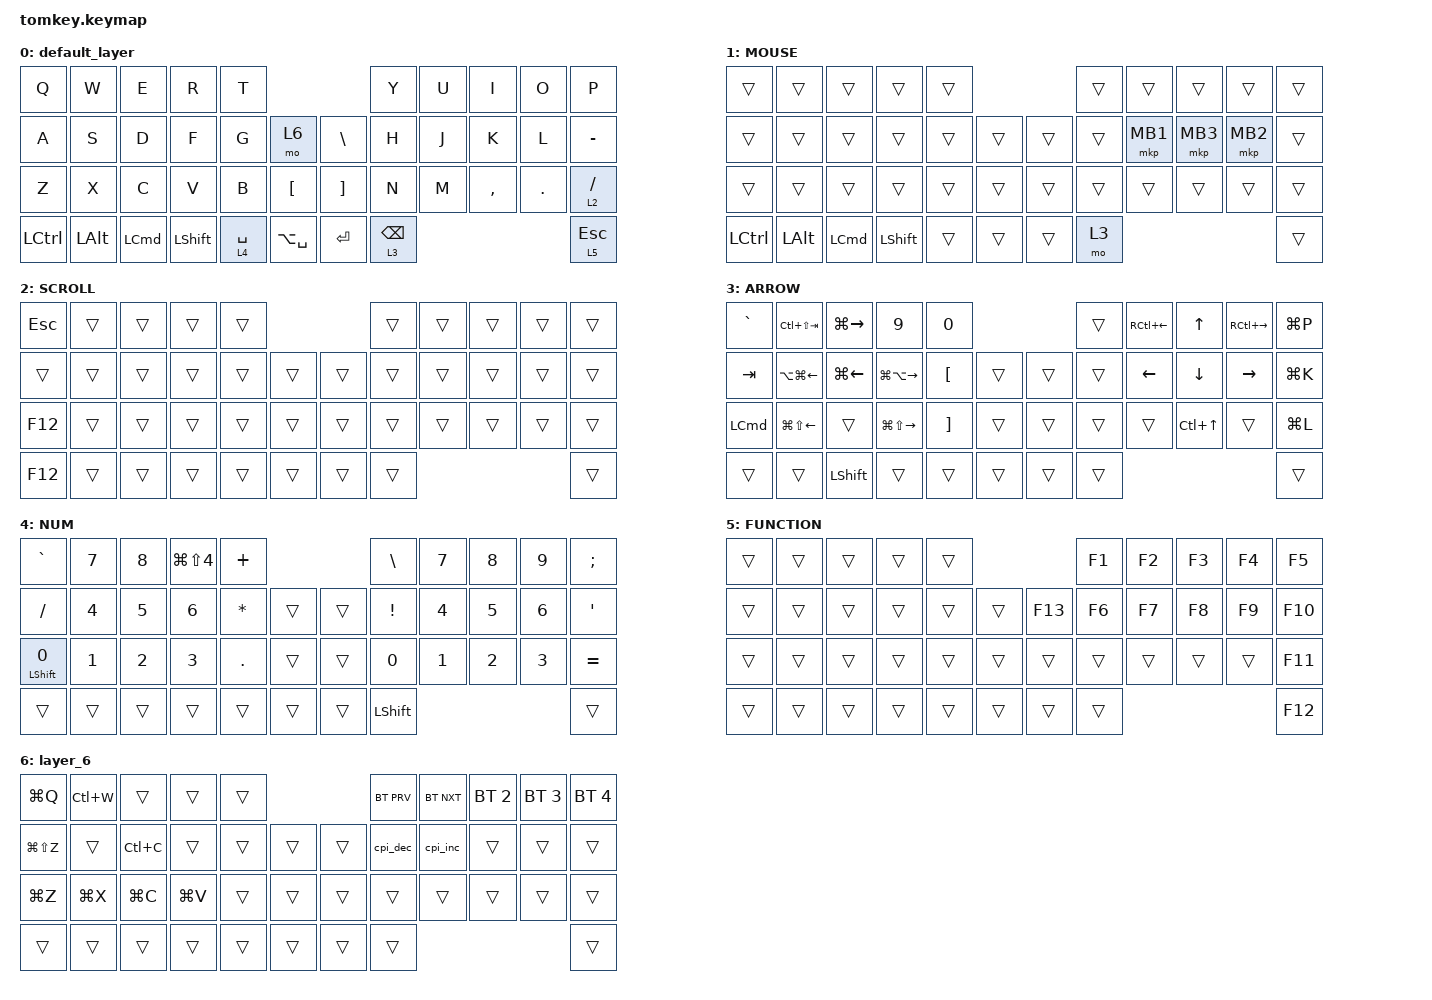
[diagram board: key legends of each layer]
#include <behaviors.dtsi>
#include <dt-bindings/zmk/bt.h>
#include <dt-bindings/zmk/keys.h>
#include <dt-bindings/zmk/pointing.h>

/ {
    behaviors {
        cpi_inc: cpi_increase {
            compatible = "zmk,behavior-macro";
            label = "CPI_INC";
            #binding-cells = <0>;
            bindings = <&macro_press &kp LCTRL>, <&macro_tap &kp EQUAL>, <&macro_release &kp LCTRL>;
        };
        
        cpi_dec: cpi_decrease {
            compatible = "zmk,behavior-macro";
            label = "CPI_DEC";
            #binding-cells = <0>;
            bindings = <&macro_press &kp LCTRL>, <&macro_tap &kp MINUS>, <&macro_release &kp LCTRL>;
        };
    };

    keymap {
        compatible = "zmk,keymap";

        default_layer {
            bindings = <
&kp Q      &kp W         &kp E             &kp R           &kp T                                                 &kp Y            &kp U     &kp I         &kp O    &kp P
&kp A      &kp S         &kp D             &kp F           &kp G        &mo 6                 &kp BACKSLASH      &kp H            &kp J     &kp K         &kp L    &kp MINUS
&kp Z      &kp X         &kp C             &kp V           &kp B        &kp LEFT_BRACKET      &kp RIGHT_BRACKET  &kp N            &kp M     &kp COMMA     &kp DOT  &lt 2 SLASH
&kp LCTRL  &kp LEFT_ALT  &kp LEFT_COMMAND  &kp LEFT_SHIFT  &lt 4 SPACE  &kp LA(SPACE)         &kp ENTER          &lt 3 BACKSPACE                                   &lt 5 ESCAPE
            >;
        };

        MOUSE {
            bindings = <
&trans         &trans         &trans            &trans          &trans                                           &trans           &trans    &trans        &trans      &trans
&trans         &trans         &trans            &trans          &trans       &trans           &trans             &trans           &mkp MB1  &mkp MB3      &mkp MB2    &trans
&trans         &trans         &trans            &trans          &trans       &trans           &trans             &trans           &trans    &trans        &trans      &trans
&kp LCTRL      &kp LEFT_ALT   &kp LEFT_COMMAND  &kp LEFT_SHIFT  &trans       &trans           &trans             &mo 3                                                &trans
            >;
        };

        SCROLL {
            bindings = <
&kp ESCAPE  &trans  &trans  &trans  &trans                      &trans  &trans  &trans  &trans  &trans
&trans      &trans  &trans  &trans  &trans  &trans      &trans  &trans  &trans  &trans  &trans  &trans
&kp F12     &trans  &trans  &trans  &trans  &trans      &trans  &trans  &trans  &trans  &trans  &trans
&kp F12     &trans  &trans  &trans  &trans  &trans      &trans  &trans                          &trans
            >;
        };

        ARROW {
            bindings = <
&kp GRAVE  &kp LC(LS(TAB))         &kp LG(RIGHT)   &kp NUMBER_9     &kp NUMBER_0                                   &trans  &kp RC(LEFT_ARROW)  &kp UP_ARROW      &kp RC(RIGHT_ARROW)  &kp LG(P)
&kp TAB    &kp LA(LG(LEFT_ARROW))  &kp LG(LEFT)    &kp LG(LA(RIGHT_ARROW))  &kp LEFT_BRACKET   &trans      &trans  &trans  &kp LEFT_ARROW      &kp DOWN_ARROW    &kp RIGHT_ARROW      &kp LG(K)
&kp LCMD   &kp LG(LS(LEFT_ARROW))  &trans          &kp LG(LS(RIGHT_ARROW))  &kp RIGHT_BRACKET  &trans      &trans  &trans  &trans              &kp LC(UP_ARROW)  &trans               &kp LG(L)
&trans     &trans                  &kp LEFT_SHIFT  &trans                   &trans             &trans      &trans  &trans                                                              &trans
            >;
        };

        NUM {
            bindings = <
&kp GRAVE                &kp NUMBER_7  &kp NUMBER_8  &kp LG(LS(NUMBER_4))  &kp PLUS                          &kp BACKSLASH    &kp NUMBER_7  &kp NUMBER_8  &kp NUMBER_9  &kp SEMICOLON
&kp SLASH                &kp NUMBER_4  &kp NUMBER_5  &kp NUMBER_6          &kp ASTERISK  &trans      &trans  &kp EXCLAMATION  &kp NUMBER_4  &kp NUMBER_5  &kp NUMBER_6  &kp SQT
&mt LEFT_SHIFT NUMBER_0  &kp NUMBER_1  &kp NUMBER_2  &kp NUMBER_3          &kp PERIOD    &trans      &trans  &kp NUMBER_0     &kp NUMBER_1  &kp NUMBER_2  &kp NUMBER_3  &kp EQUAL
&trans                   &trans        &trans        &trans                &trans        &trans      &trans  &kp LEFT_SHIFT                                             &trans
            >;
        };

        FUNCTION {
            bindings = <
&trans  &trans  &trans  &trans  &trans                       &kp F1  &kp F2  &kp F3  &kp F4  &kp F5
&trans  &trans  &trans  &trans  &trans  &trans      &kp F13  &kp F6  &kp F7  &kp F8  &kp F9  &kp F10
&trans  &trans  &trans  &trans  &trans  &trans      &trans   &trans  &trans  &trans  &trans  &kp F11
&trans  &trans  &trans  &trans  &trans  &trans      &trans   &trans                          &kp F12
            >;
        };

        layer_6 {
            bindings = <
&kp LG(Q)      &kp LC(W)  &trans     &trans     &trans                      &bt BT_PRV     &bt BT_NXT       &bt BT_SEL 2  &bt BT_SEL 3  &bt BT_SEL 4
&kp LG(LS(Z))  &trans     &kp LC(C)  &trans     &trans  &trans      &trans  &cpi_dec       &cpi_inc         &trans        &trans        &trans
&kp LG(Z)      &kp LG(X)  &kp LG(C)  &kp LG(V)  &trans  &trans      &trans  &trans         &trans           &trans        &trans        &trans
&trans         &trans     &trans     &trans     &trans  &trans      &trans  &trans                                                      &trans
            >;
        };
    };
};
